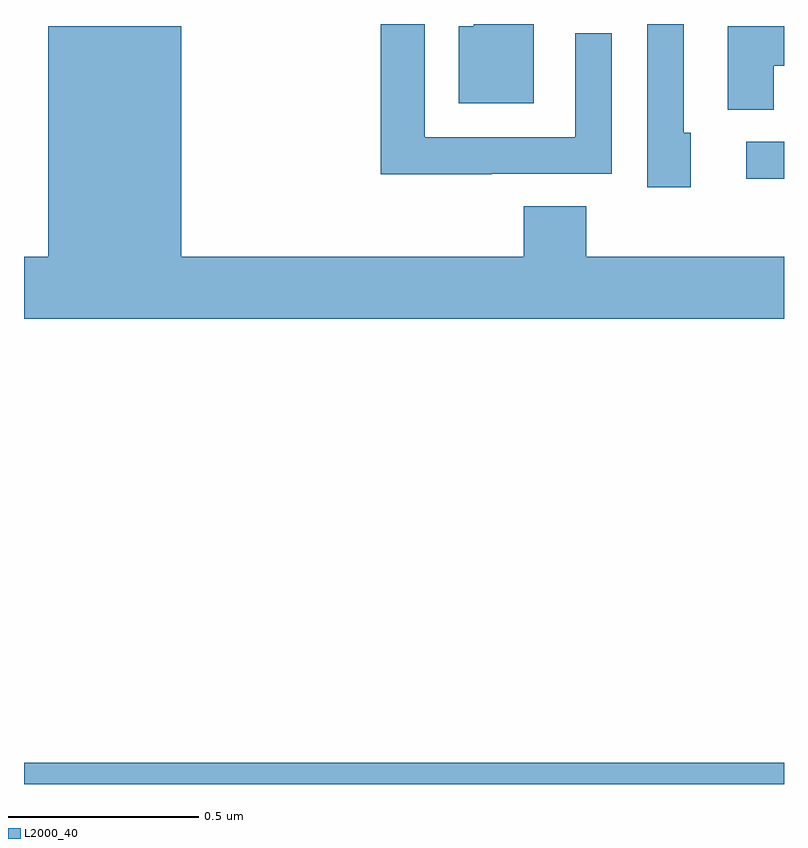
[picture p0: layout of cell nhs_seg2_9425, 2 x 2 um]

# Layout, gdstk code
import gdstk
lib = gdstk.Library(unit=1e-6, precision=1e-09)
def R(c, l, rs):  # rectangles x0, y0, x1, y1
    for r in rs: c.add(gdstk.rectangle(r[:2], r[2:], *l))
def P(c, l, *ps):  # polygons
    for p in ps: c.add(gdstk.Polygon(p, *l))
L2000_40 = (2000, 40)

nhs_seg2_9425 = lib.new_cell('nhs_seg2_9425')
R(nhs_seg2_9425, L2000_40, [(229,591.8,231,591.856), (230.901,593.393,231,593.49)])
P(nhs_seg2_9425, L2000_40, [(230.755,593.514),(230.736,593.514),(230.736,593.8),(230.64,593.8),(230.64,593.37),(230.755,593.37)],
  [(230.341,593.8),(230.183,593.8),(230.183,593.794),(230.144,593.794),(230.144,593.591),(230.341,593.591)],
  [(230.231,593.406),(230.547,593.406),(230.547,593.776),(230.451,593.776),(230.451,593.502),(230.055,593.502),(230.055,593.8),(229.939,593.8),(229.939,593.405),(230.231,593.405)],
  [(231,593.188),(230.48,593.188),(230.48,593.321),(230.315,593.321),(230.315,593.188),(229.414,593.188),(229.414,593.794),(229.064,593.794),(229.064,593.188),(229,593.188),(229,593.024),(231,593.024)],
  [(230.973,593.69),(231,593.69),(231,593.794),(230.852,593.794),(230.852,593.575),(230.973,593.575)])

lib.write_gds('nhs_seg2_9425.gds')
